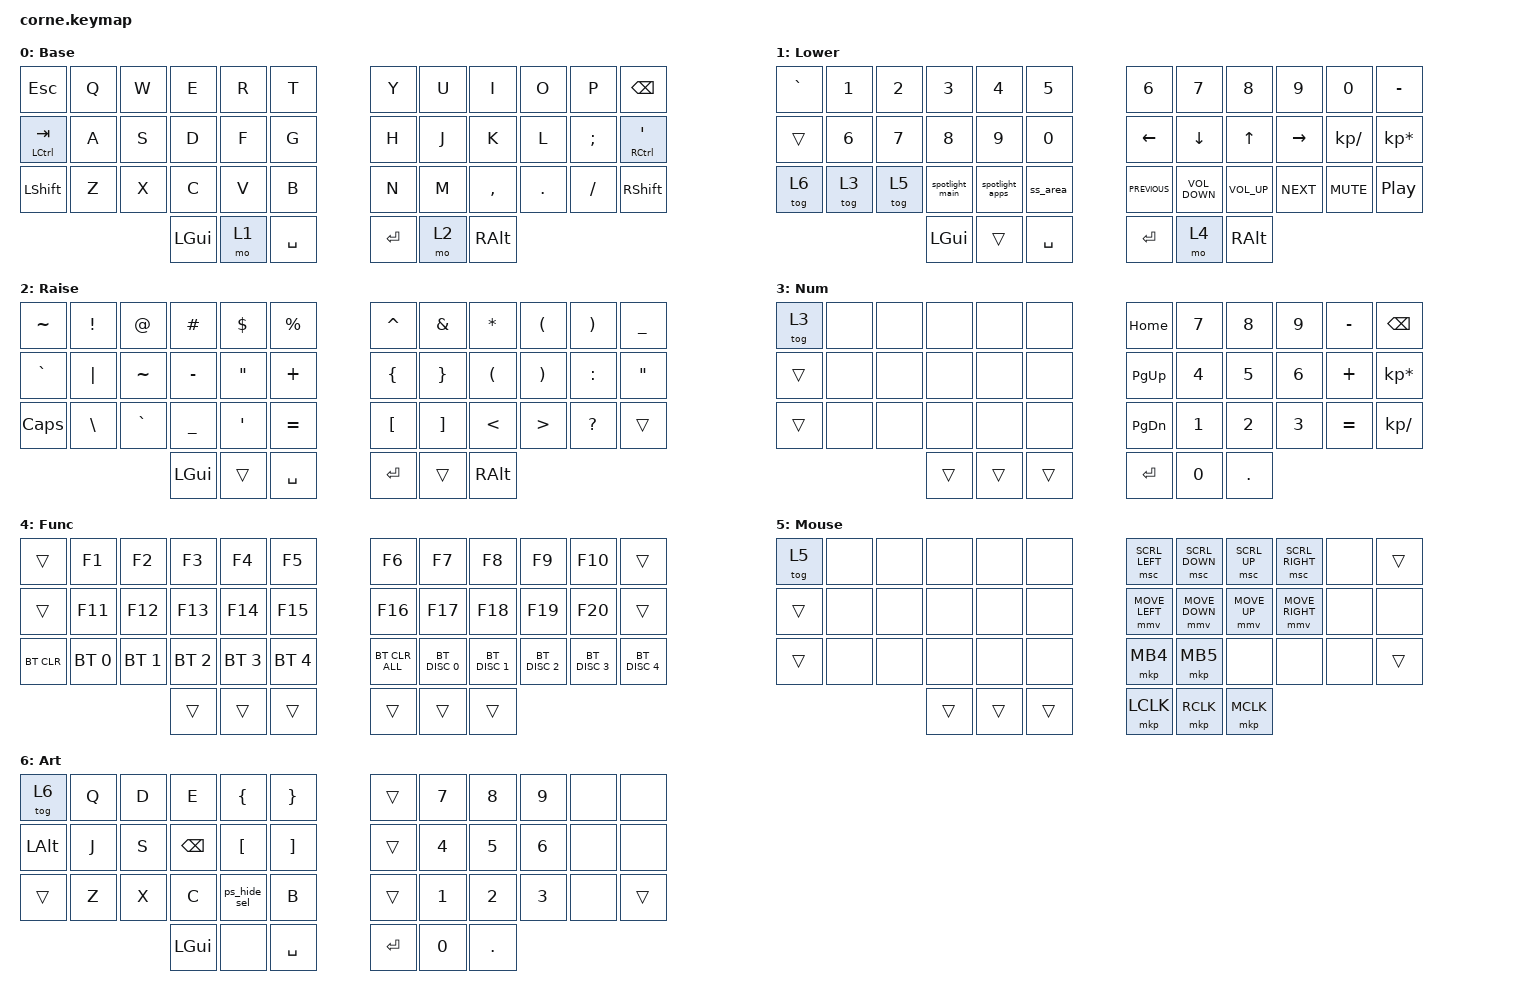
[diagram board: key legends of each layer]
/*
 * Corne (nice!nano v2)
 * Base: QWERTY with home-row mods (later)
 * Layers: Lower (Numbers/Arrows), Raise (Symbols), Num, Func & BT
 * Photo intent:
 *   - Top-left key: Base=Esc, Raise=Option (LALT). Lower inherits Base.
 *   - Leftmost on row 2: Base=Tab, Raise=Shift (LSHFT). Lower inherits Base.
 */

#include <behaviors.dtsi>
#include <dt-bindings/zmk/bt.h>
#include <dt-bindings/zmk/keys.h>
#include <dt-bindings/zmk/pointing.h>

/ {
    behaviors {
        HM: HM {
            compatible = "zmk,behavior-hold-tap";
            label = "HM";
            bindings = <&kp>, <&kp>;

            #binding-cells = <2>;
            tapping-term-ms = <280>;
            quick-tap-ms = <175>;
            flavor = "hold-preferred";   // reliable chording: hold = Shift
        };

        // ─── Ghostty / iTerm "terminal splits" ─────────────────────────

        split_v: split_v {
            compatible = "zmk,behavior-macro";
            label = "SPLIT_V";
            #binding-cells = <0>;

            // Cmd+Ctrl+Backslash

            bindings = <&sk LGUI &sk LCTRL &kp BACKSLASH>;
        };

        split_h: split_h {
            compatible = "zmk,behavior-macro";
            label = "SPLIT_H";
            #binding-cells = <0>;

            // Cmd+Ctrl+Minus

            bindings = <&sk LGUI &sk LCTRL &kp MINUS>;
        };

        split_x: split_x {
            compatible = "zmk,behavior-macro";
            label = "SPLIT_X";
            #binding-cells = <0>;

            // Cmd+Ctrl+X (close surface in Ghostty)

            bindings = <&sk LGUI &sk LCTRL &kp X>;
        };

        // ─── Neovim splits (type the commands) ─────────────────────────

        nv_vsplit: nv_vsplit {
            compatible = "zmk,behavior-macro";
            label = "NV_VSPLIT";
            #binding-cells = <0>;

            // ESC :vsplit<CR>

            bindings = <&sk LCTRL &kp W &kp V>;   // <C-w> v
        };

        nv_hsplit: nv_hsplit {
            compatible = "zmk,behavior-macro";
            label = "NV_HSPLIT";
            #binding-cells = <0>;

            // ESC :split<CR>

            bindings = <&sk LCTRL &kp W &kp S>;   // <C-w> s
        };

        nv_close: nv_close {
            compatible = "zmk,behavior-macro";
            label = "NV_CLOSE";
            #binding-cells = <0>;

            // ESC :close<CR>  (close current window/split, keep buffer)

            bindings = <&sk LCTRL &kp W &kp C>;   // <C-w> c
        };

        ps_hide_sel: ps_hide_sel {
            compatible = "zmk,behavior-macro";
            label = "PS_HIDE_SEL";
            #binding-cells = <0>;
            bindings = <&sk LGUI &kp H>;   // one-shot Cmd, then H = Cmd+H
        };

        /* ── macOS screenshots ───────────────────────────────────────── */

        ss_full: ss_full {
            compatible = "zmk,behavior-macro";
            label = "SS_FULL";            // Cmd+Shift+3 (full screen → file)
            #binding-cells = <0>;
            bindings = <&sk LGUI &sk LSHFT &kp N3>;
        };

        ss_area: ss_area {
            compatible = "zmk,behavior-macro";
            label = "SS_AREA";            // Cmd+Shift+4 (region select → file)
            #binding-cells = <0>;
            bindings = <&sk LGUI &sk LSHFT &kp N4>;
        };

        ss_ui: ss_ui {
            compatible = "zmk,behavior-macro";
            label = "SS_UI";              // Cmd+Shift+5 (screenshot toolbar)
            #binding-cells = <0>;
            bindings = <&sk LGUI &sk LSHFT &kp N5>;
        };

        ss_full_clip: ss_full_clip {
            compatible = "zmk,behavior-macro";
            label = "SS_FULL_CLIP";       // Cmd+Ctrl+Shift+3 (full → clipboard)
            #binding-cells = <0>;
            bindings = <&sk LGUI &sk LEFT_CONTROL &sk LSHFT &kp N3>;
        };

        ss_area_clip: ss_area_clip {
            compatible = "zmk,behavior-macro";
            label = "SS_AREA_CLIP";       // Cmd+Ctrl+Shift+4 (region → clipboard)
            #binding-cells = <0>;
            bindings = <&sk LGUI &sk LEFT_CONTROL &sk LSHFT &kp N4>;
        };

        ss_window: ss_window {
            compatible = "zmk,behavior-macro";
            label = "SS_WINDOW";          // Cmd+Shift+4, then Space (window capture)
            #binding-cells = <0>;
            bindings = <&sk LGUI &sk LSHFT &kp N4 &kp SPACE>;
        };

        /* ── Spotlight / Launcher categories (all prefix with Cmd+Space) ── */

        spotlight_main: spotlight_main {
            compatible = "zmk,behavior-macro";
            label = "SPOTLIGHT_MAIN";
            #binding-cells = <0>;
            bindings = <&sk LGUI &kp SPACE>;
        };

        spotlight_apps: spotlight_apps {
            compatible = "zmk,behavior-macro";
            label = "SPOTLIGHT_APPS";
            #binding-cells = <0>;
            bindings = <&sk LGUI &kp SPACE &sk LGUI &kp N1>;
        };

        spotlight_files: spotlight_files {
            compatible = "zmk,behavior-macro";
            label = "SPOTLIGHT_FILES";
            #binding-cells = <0>;
            bindings = <&sk LGUI &kp SPACE &sk LGUI &kp N2>;
        };

        spotlight_actions: spotlight_actions {
            compatible = "zmk,behavior-macro";
            label = "SPOTLIGHT_ACTIONS";
            #binding-cells = <0>;
            bindings = <&sk LGUI &kp SPACE &sk LGUI &kp N3>;
        };

        spotlight_clipboard: spotlight_clipboard {
            compatible = "zmk,behavior-macro";
            label = "SPOTLIGHT_CLIPBOARD";
            #binding-cells = <0>;
            bindings = <&sk LGUI &kp SPACE &sk LGUI &kp N4>;
        };

        ps_stamp: ps_stamp {
            compatible = "zmk,behavior-macro";
            #binding-cells = <0>;
            bindings = <&sk LEFT_COMMAND &sk LEFT_ALT &sk LEFT_SHIFT &kp E>;
            label = "PS_STAMP";
        };
    };

    macros {
    };

    combos {
        compatible = "zmk,combos";

        /* ── Right hand = Terminal splits (Ghostty/iTerm) ───────── */

        combo_term_close: combo_term_x {
            bindings = <&split_x>;
            key-positions = <18 19>;   // H + J
            layers = <2>;              // Raise only
            timeout-ms = <40>;
        };

        combo_term_v: combo_term_v {
            bindings = <&split_v>;
            key-positions = <19 20>;   // J + K
            layers = <2>;
            timeout-ms = <40>;
        };

        combo_term_h: combo_term_h {
            bindings = <&split_h>;
            key-positions = <20 21>;   // K + L
            layers = <2>;
            timeout-ms = <40>;
        };

        /* ── Left hand = Neovim splits ─────────────────────────── */

        combo_nv_hsplit: combo_nv_hsplit {
            bindings = <&nv_hsplit>;
            key-positions = <14 15>;   // S + D
            layers = <2>;
            timeout-ms = <40>;
        };

        combo_nv_vsplit: combo_nv_vsplit {
            bindings = <&nv_vsplit>;
            key-positions = <15 16>;   // D + F
            layers = <2>;
            timeout-ms = <40>;
        };

        combo_nv_close: combo_nv_close {
            bindings = <&nv_close>;
            key-positions = <16 17>;   // F + G
            layers = <2>;
            timeout-ms = <40>;
        };

        /* Base+Art layers: holdable Left Option via Z+X (safe for ⌥-drag in PS) */

        combo_alt_hold_zx {
            bindings = <&kp LALT>;      // holds while A+Q are held
            key-positions = <25 26>;
            layers = <0 6>;               // base only
            timeout-ms = <35>;
        };

        /* Base-layer: Q+W+E -> Cmd+Opt+Shift+E (Stamp Visible) */

        combo_ps_stamp_qwe {
            bindings = <&ps_stamp>;
            key-positions = <1 2 3>;
            layers = <0 6>;
            timeout-ms = <50>;
        };
    };

    keymap {
        compatible = "zmk,keymap";

        // ───────────── 0: Base ─────────────

        default_layer {
            display-name = "Base";
            bindings = <
&kp ESC               &kp Q  &kp W  &kp E     &kp R  &kp T        &kp Y    &kp U  &kp I      &kp O    &kp P          &kp BSPC
&HM LEFT_CONTROL TAB  &kp A  &kp S  &kp D     &kp F  &kp G        &kp H    &kp J  &kp K      &kp L    &kp SEMICOLON  &HM RIGHT_CONTROL SQT
&kp LEFT_SHIFT        &kp Z  &kp X  &kp C     &kp V  &kp B        &kp N    &kp M  &kp COMMA  &kp DOT  &kp FSLH       &kp RIGHT_SHIFT
                                    &kp LGUI  &mo 1  &kp SPACE    &kp RET  &mo 2  &kp RALT
            >;
        };

        // ───────────── 1: Lower (Numbers/BT/Arrows) ─────────────

        lower_layer {
            display-name = "Lower";
            bindings = <
&kp GRAVE  &kp N1  &kp N2  &kp N3           &kp N4           &kp N5       &kp N6          &kp N7             &kp N8           &kp N9      &kp N0         &kp MINUS
&trans     &kp N6  &kp N7  &kp N8           &kp N9           &kp N0       &kp LEFT        &kp DOWN           &kp UP           &kp RIGHT   &kp KP_DIVIDE  &kp KP_MULTIPLY
&tog 6     &tog 3  &tog 5  &spotlight_main  &spotlight_apps  &ss_area     &kp C_PREVIOUS  &kp C_VOLUME_DOWN  &kp C_VOLUME_UP  &kp C_NEXT  &kp C_MUTE     &kp C_PP
                           &kp LGUI         &trans           &kp SPACE    &kp RET         &mo 4              &kp RALT
            >;
        };

        // ───────────── 2: Raise (Symbols) ───────────

        raise_layer {
            display-name = "Raise";
            bindings = <
&kp TILDE  &kp EXCLAMATION  &kp AT_SIGN  &kp HASH        &kp DOLLAR         &kp PERCENT    &kp CARET         &kp AMPERSAND      &kp ASTERISK          &kp LEFT_PARENTHESIS   &kp RIGHT_PARENTHESIS  &kp UNDERSCORE
&kp GRAVE  &kp PIPE         &kp TILDE    &kp MINUS       &kp DOUBLE_QUOTES  &kp PLUS       &kp LEFT_BRACE    &kp RIGHT_BRACE    &kp LEFT_PARENTHESIS  &kp RIGHT_PARENTHESIS  &kp COLON              &kp DOUBLE_QUOTES
&kp CAPS   &kp BACKSLASH    &kp GRAVE    &kp UNDERSCORE  &kp SINGLE_QUOTE   &kp EQUAL      &kp LEFT_BRACKET  &kp RIGHT_BRACKET  &kp LESS_THAN         &kp GREATER_THAN       &kp QUESTION           &trans
                                         &kp LGUI        &trans             &kp SPACE      &kp RET           &trans             &kp RALT
            >;
        };

        // ───────────── 3: Num (right-hand numpad + nav keys) ──────────

        num_layer {
            display-name = "Num";
            bindings = <
&tog 3  &none  &none  &none   &none   &none     &kp HOME       &kp N7        &kp N8        &kp N9        &kp MINUS  &kp BACKSPACE
&trans  &none  &none  &none   &none   &none     &kp PAGE_UP    &kp NUMBER_4  &kp N5        &kp NUMBER_6  &kp PLUS   &kp KP_MULTIPLY
&trans  &none  &none  &none   &none   &none     &kp PAGE_DOWN  &kp NUMBER_1  &kp NUMBER_2  &kp NUMBER_3  &kp EQUAL  &kp KP_DIVIDE
                      &trans  &trans  &trans    &kp ENTER      &kp N0        &kp PERIOD
            >;
        };

        // ───────────── 4: Func (F1–F12) ──────────

        func_layer {
            display-name = "Func";
            bindings = <
&trans      &kp F1        &kp F2        &kp F3        &kp F4        &kp F5          &kp F6          &kp F7         &kp F8         &kp F9         &kp F10        &trans
&trans      &kp F11       &kp F12       &kp F13       &kp F14       &kp F15         &kp F16         &kp F17        &kp F18        &kp F19        &kp F20        &trans
&bt BT_CLR  &bt BT_SEL 0  &bt BT_SEL 1  &bt BT_SEL 2  &bt BT_SEL 3  &bt BT_SEL 4    &bt BT_CLR_ALL  &bt BT_DISC 0  &bt BT_DISC 1  &bt BT_DISC 2  &bt BT_DISC 3  &bt BT_DISC 4
                                        &trans        &trans        &trans          &trans          &trans         &trans
            >;
        };

        // ───────────── 5: Mouse (one-hand use on right side) ──────────

        mouse {
            display-name = "Mouse";
            bindings = <
&tog 5  &none  &none  &none   &none   &none     &msc SCRL_LEFT  &msc SCRL_DOWN  &msc SCRL_UP  &msc SCRL_RIGHT  &none  &trans
&trans  &none  &none  &none   &none   &none     &mmv MOVE_LEFT  &mmv MOVE_DOWN  &mmv MOVE_UP  &mmv MOVE_RIGHT  &none  &none
&trans  &none  &none  &none   &none   &none     &mkp MB4        &mkp MB5        &none         &none            &none  &trans
                      &trans  &trans  &trans    &mkp LCLK       &mkp RCLK       &mkp MCLK
            >;
        };

        // ───────────── 6: Art (Photoshop; right-hand numbers for opacity/flow) ──────────

        art {
            display-name = "Art";
            bindings = <
&tog 6        &kp Q  &kp D  &kp E     &kp LEFT_BRACE    &kp RIGHT_BRACE      &trans     &kp N7        &kp N8        &kp N9        &none  &none
&kp LEFT_ALT  &kp J  &kp S  &kp BSPC  &kp LEFT_BRACKET  &kp RIGHT_BRACKET    &trans     &kp NUMBER_4  &kp NUMBER_5  &kp NUMBER_6  &none  &none
&trans        &kp Z  &kp X  &kp C     &ps_hide_sel      &kp B                &trans     &kp NUMBER_1  &kp NUMBER_2  &kp NUMBER_3  &none  &trans
                            &kp LGUI  &none             &kp SPACE            &kp ENTER  &kp N0        &kp PERIOD
            >;
        };
    };
};

